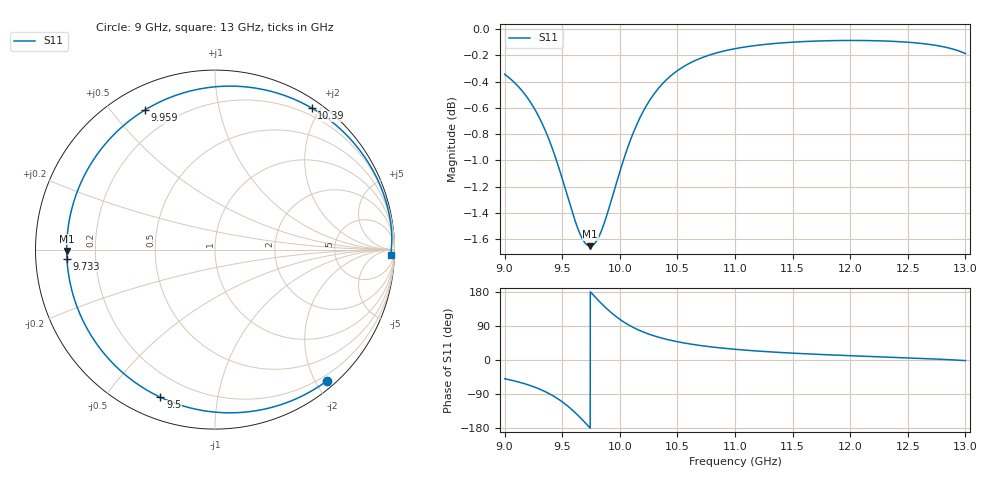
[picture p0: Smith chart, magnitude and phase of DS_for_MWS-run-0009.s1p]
! TOUCHSTONE file generated by CST DESIGN STUDIO
! Date and time: Tue Feb  4 18:22:20 2025
! Project name: C:\Work\MatlabApps\UnitCellOptimizationMatlab\CST\unitcell.cst
! Tree item: Tasks\Sweep1\SPara1\S-Parameters
! Header version: 2024
! Port assignment regex: !\s*Touchstone port\s*([0-9]+)\s*=\s*(CST MWS port|CST DES external port|CST DES block port)\s*(.+)\s* \(\"(.*)\"\)(\s*mode\s*([0-9]+))?.*
! Touchstone port assignment:
! Touchstone port 1 = CST DES external port 1 ("")
# GHz S MA R 50
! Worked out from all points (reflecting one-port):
!   4001 points, 9 GHz to 13 GHz, reference 50 ohm
!   lowest |S11| = -1.7 dB at 9.742 GHz (marker M1), VSWR 10.53, Z = 4.75 - j0.232 ohm
!   phase of S11 starts at -49 deg and turns -312 deg over the sweep
!   S11 on the Smith chart (normalised r, x): 9 GHz: 0.11, -2.17; 9.5 GHz: 0.10, -0.69; 9.733 GHz: 0.09, -0.03; 9.959 GHz: 0.10, +0.61; 10.39 GHz: 0.10, +1.89; 13 GHz: 34, -45
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9  0.9612 -49.4
9.137  0.949 -59.3
9.265  0.9316 -72.0
9.332  0.9193 -80.5
9.398  0.9046 -90.6
9.451  0.891 -100.2
9.5  0.8771 -110.3
9.556  0.8606 -123.6
9.61  0.8457 -138.2
9.675  0.832 -157.8
9.733  0.8267 -176.5
9.742  0.8266 -179.5
9.787  0.829 165.9
9.835  0.8367 150.7
9.897  0.852 132.6
9.959  0.8702 116.6
10  0.8824 107.4
10.085  0.9055 91.1
10.189  0.9279 75.8
10.286  0.9432 64.8
10.392  0.9554 55.6
10.5  0.9643 48.2
10.718  0.9755 37.4
11  0.9831 28.2
11.5  0.9887 18.1
12  0.9902 11.3
12.5  0.9887 5.6
13  0.9788 -1.6
